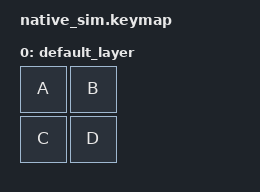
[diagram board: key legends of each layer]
#include <dt-bindings/zmk/keys.h>
#include <behaviors.dtsi>
#include <dt-bindings/zmk/kscan_mock.h>

/ {
    combos {
        compatible = "zmk,combos";

        combo_one {
            timeout-ms = <50>;
            key-positions = <0 1>;
            bindings = <&kp X>;
            require-prior-idle-ms = <100>;
        };

        combo_two {
            timeout-ms = <50>;
            key-positions = <0 2>;
            bindings = <&kp Y>;
        };
    };

    keymap {
        compatible = "zmk,keymap";

        default_layer {
            bindings = <&kp A &kp B
                        &kp C &kp D>;
        };
    };
};

&kscan {
    events = <
              /* Tap A  */
              ZMK_MOCK_PRESS(0,0,10)
              ZMK_MOCK_RELEASE(0,0,60)
              /* Quick Tap A and B */
              ZMK_MOCK_PRESS(0,0,10)
              ZMK_MOCK_PRESS(0,1,10)
              ZMK_MOCK_RELEASE(0,0,10)
              ZMK_MOCK_RELEASE(0,1,200)
              /* Combo One */
              ZMK_MOCK_PRESS(0,0,10)
              ZMK_MOCK_PRESS(0,1,10)
              ZMK_MOCK_RELEASE(0,0,10)
              ZMK_MOCK_RELEASE(0,1,10)
              /* Combo One Again (shouldn't quick tap) */
              ZMK_MOCK_PRESS(0,0,10)
              ZMK_MOCK_PRESS(0,1,10)
              ZMK_MOCK_RELEASE(0,0,10)
              ZMK_MOCK_RELEASE(0,1,10)
              /* Tap A  */
              ZMK_MOCK_PRESS(0,0,10)
              ZMK_MOCK_RELEASE(0,0,60)
              /* Combo 2  */
              ZMK_MOCK_PRESS(0,0,10)
              ZMK_MOCK_PRESS(1,0,10)
              ZMK_MOCK_RELEASE(0,0,10)
              ZMK_MOCK_RELEASE(1,0,10)>;
};
